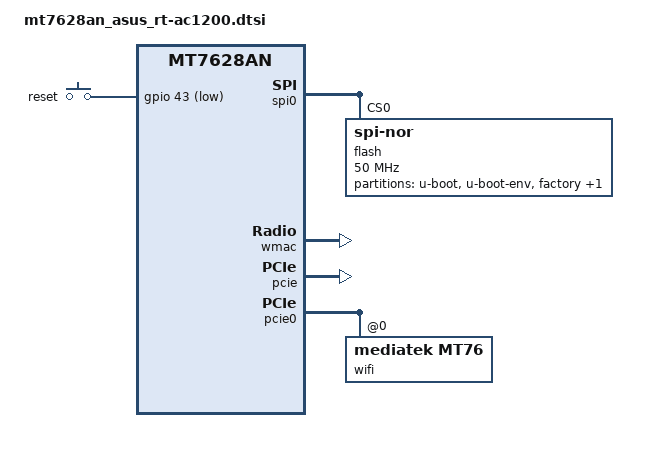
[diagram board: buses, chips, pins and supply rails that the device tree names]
// SPDX-License-Identifier: GPL-2.0-or-later OR MIT

#include "mt7628an.dtsi"

#include <dt-bindings/gpio/gpio.h>
#include <dt-bindings/input/input.h>
#include <dt-bindings/leds/common.h>

/ {

	keys {
		compatible = "gpio-keys";

		reset {
			label = "reset";
			gpios = <&gpio 43 GPIO_ACTIVE_LOW>;
			linux,code = <KEY_RESTART>;
		};
	};
};

&spi0 {
	status = "okay";

	flash@0 {
		compatible = "jedec,spi-nor";
		reg = <0>;
		spi-max-frequency = <50000000>;
		m25p,fast-read;

		partitions {
			compatible = "fixed-partitions";
			#address-cells = <1>;
			#size-cells = <1>;

			partition@0 {
				label = "u-boot";
				reg = <0x0 0x30000>;
				read-only;
			};

			partition@30000 {
				label = "u-boot-env";
				reg = <0x30000 0x10000>;
				read-only;
			};

			partition@40000 {
				label = "factory";
				reg = <0x40000 0x10000>;
				read-only;

				nvmem-layout {
					compatible = "fixed-layout";
					#address-cells = <1>;
					#size-cells = <1>;

					eeprom_factory_0: eeprom@0 {
						reg = <0x0 0x400>;
					};

					eeprom_factory_8000: eeprom@8000 {
						reg = <0x8000 0x200>;
					};

					macaddr_factory_4: macaddr@4 {
						reg = <0xe000 0x6>;
					};
				};
			};

			partition@50000 {
				compatible = "denx,uimage";
				label = "firmware";
				reg = <0x50000 0xfb0000>;
			};
		};
	};
};

&ethernet {
	nvmem-cells = <&macaddr_factory_4>;
	nvmem-cell-names = "mac-address";
};

&esw {
	mediatek,portmap = <0x3e>;
};

&wmac {
	status = "okay";

	nvmem-cells = <&eeprom_factory_0>;
	nvmem-cell-names = "eeprom";
};

&pcie {
	status = "okay";
};

&pcie0 {
	wifi@0,0 {
		compatible = "mediatek,mt76";
		reg = <0x0000 0 0 0 0>;
		nvmem-cells = <&eeprom_factory_8000>;
		nvmem-cell-names = "eeprom";
		ieee80211-freq-limit = <5000000 6000000>;
	};
};
